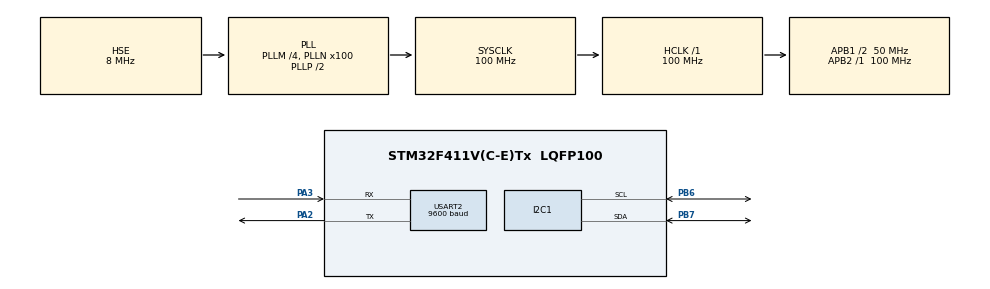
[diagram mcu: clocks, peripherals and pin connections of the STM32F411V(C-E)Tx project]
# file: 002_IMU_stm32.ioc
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Mcu.Family=STM32F4
Mcu.Name=STM32F411V(C-E)Tx
Mcu.Package=LQFP100
NVIC.PriorityGroup=NVIC_PRIORITYGROUP_4
PA2.Mode=Asynchronous
PA2.Signal=USART2_TX
PA3.Mode=Asynchronous
PA3.Signal=USART2_RX
PB6.Mode=I2C
PB6.Signal=I2C1_SCL
PB7.Mode=I2C
PB7.Signal=I2C1_SDA
PH0\ -\ OSC_IN.Mode=HSE-External-Oscillator
PH0\ -\ OSC_IN.Signal=RCC_OSC_IN
PH1\ -\ OSC_OUT.Mode=HSE-External-Oscillator
PH1\ -\ OSC_OUT.Signal=RCC_OSC_OUT
ProjectManager.HeapSize=0x200
ProjectManager.StackSize=0x400
ProjectManager.TargetToolchain=STM32CubeIDE
RCC.48MHZClocksFreq_Value=50000000
RCC.AHBFreq_Value=100000000
RCC.APB1CLKDivider=RCC_HCLK_DIV2
RCC.APB1Freq_Value=50000000
RCC.APB1TimFreq_Value=100000000
RCC.APB2Freq_Value=100000000
RCC.APB2TimFreq_Value=100000000
RCC.CortexFreq_Value=100000000
RCC.HCLKFreq_Value=100000000
RCC.HSE_VALUE=8000000
RCC.HSI_VALUE=16000000
RCC.LSE_VALUE=32768
RCC.PLLM=4
RCC.PLLN=100
RCC.PLLSourceVirtual=RCC_PLLSOURCE_HSE
RCC.SYSCLKFreq_VALUE=100000000
RCC.SYSCLKSource=RCC_SYSCLKSOURCE_PLLCLK
RCC.VCOOutputFreq_Value=200000000
USART2.BaudRate=9600
USART2.VirtualMode=VM_ASYNC
board=custom

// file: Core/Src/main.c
/* USER CODE BEGIN Header */
/**
 ******************************************************************************
 * @file           : main.c
 * @brief          : Main program body
 ******************************************************************************
 * @attention
 *
 * Copyright (c) 2023 STMicroelectronics.
 * All rights reserved.
 *
 * This software is licensed under terms that can be found in the LICENSE file
 * in the root directory of this software component.
 * If no LICENSE file comes with this software, it is provided AS-IS.
 *
 ******************************************************************************
 */
/* USER CODE END Header */
#include "main.h"

/* USER CODE BEGIN Includes */
#include <stdio.h>
#include "mpu6050.h"
/* USER CODE END Includes */

I2C_HandleTypeDef hi2c1;

UART_HandleTypeDef huart2;

void SystemClock_Config(void);
static void MX_GPIO_Init(void);
static void MX_I2C1_Init(void);
static void MX_USART2_UART_Init(void);
/* USER CODE BEGIN PFP */
void print_accel(MPU6050_t *MPU6050);
void print_gyro(MPU6050_t *MPU6050);

/* USER CODE END PFP */

int main(void) {

	/* MCU Configuration--------------------------------------------------------*/

	/* Reset of all peripherals, Initializes the Flash interface and the Systick. */
	HAL_Init();

	/* Configure the system clock */
	SystemClock_Config();

	/* Initialize all configured peripherals */
	MX_GPIO_Init();
	MX_I2C1_Init();
	MX_USART2_UART_Init();
	/* USER CODE BEGIN 2 */
	MPU6050_t MPU6050;
	while (MPU6050_Init(&hi2c1) == 1)
		;
	/* USER CODE END 2 */

	/* Infinite loop */
	while (1) {

		/* USER CODE BEGIN 3 */
		MPU6050_Read_All(&hi2c1, &MPU6050);
		HAL_Delay(500);
		print_accel(&MPU6050);
		print_gyro(&MPU6050);

	}
	/* USER CODE END 3 */
}

void SystemClock_Config(void) {
	RCC_OscInitTypeDef RCC_OscInitStruct = { 0 };
	RCC_ClkInitTypeDef RCC_ClkInitStruct = { 0 };

	/** Configure the main internal regulator output voltage
	 */
	__HAL_RCC_PWR_CLK_ENABLE();
	__HAL_PWR_VOLTAGESCALING_CONFIG(PWR_REGULATOR_VOLTAGE_SCALE1);

	/** Initializes the RCC Oscillators according to the specified parameters
	 * in the RCC_OscInitTypeDef structure.
	 */
	RCC_OscInitStruct.OscillatorType = RCC_OSCILLATORTYPE_HSE;
	RCC_OscInitStruct.HSEState = RCC_HSE_ON;
	RCC_OscInitStruct.PLL.PLLState = RCC_PLL_ON;
	RCC_OscInitStruct.PLL.PLLSource = RCC_PLLSOURCE_HSE;
	RCC_OscInitStruct.PLL.PLLM = 4;
	RCC_OscInitStruct.PLL.PLLN = 100;
	RCC_OscInitStruct.PLL.PLLP = RCC_PLLP_DIV2;
	RCC_OscInitStruct.PLL.PLLQ = 4;
	if (HAL_RCC_OscConfig(&RCC_OscInitStruct) != HAL_OK) {
		Error_Handler();
	}

	/** Initializes the CPU, AHB and APB buses clocks
	 */
	RCC_ClkInitStruct.ClockType = RCC_CLOCKTYPE_HCLK | RCC_CLOCKTYPE_SYSCLK
			| RCC_CLOCKTYPE_PCLK1 | RCC_CLOCKTYPE_PCLK2;
	RCC_ClkInitStruct.SYSCLKSource = RCC_SYSCLKSOURCE_PLLCLK;
	RCC_ClkInitStruct.AHBCLKDivider = RCC_SYSCLK_DIV1;
	RCC_ClkInitStruct.APB1CLKDivider = RCC_HCLK_DIV2;
	RCC_ClkInitStruct.APB2CLKDivider = RCC_HCLK_DIV1;

	if (HAL_RCC_ClockConfig(&RCC_ClkInitStruct, FLASH_LATENCY_3) != HAL_OK) {
		Error_Handler();
	}
}

static void MX_I2C1_Init(void) {

	hi2c1.Instance = I2C1;
	hi2c1.Init.ClockSpeed = 100000;
	hi2c1.Init.DutyCycle = I2C_DUTYCYCLE_2;
	hi2c1.Init.OwnAddress1 = 0;
	hi2c1.Init.AddressingMode = I2C_ADDRESSINGMODE_7BIT;
	hi2c1.Init.DualAddressMode = I2C_DUALADDRESS_DISABLE;
	hi2c1.Init.OwnAddress2 = 0;
	hi2c1.Init.GeneralCallMode = I2C_GENERALCALL_DISABLE;
	hi2c1.Init.NoStretchMode = I2C_NOSTRETCH_DISABLE;
	if (HAL_I2C_Init(&hi2c1) != HAL_OK) {
		Error_Handler();
	}

}

static void MX_USART2_UART_Init(void) {

	huart2.Instance = USART2;
	huart2.Init.BaudRate = 9600;
	huart2.Init.WordLength = UART_WORDLENGTH_8B;
	huart2.Init.StopBits = UART_STOPBITS_1;
	huart2.Init.Parity = UART_PARITY_NONE;
	huart2.Init.Mode = UART_MODE_TX_RX;
	huart2.Init.HwFlowCtl = UART_HWCONTROL_NONE;
	huart2.Init.OverSampling = UART_OVERSAMPLING_16;
	if (HAL_UART_Init(&huart2) != HAL_OK) {
		Error_Handler();
	}

}

static void MX_GPIO_Init(void) {

	/* GPIO Ports Clock Enable */
	__HAL_RCC_GPIOH_CLK_ENABLE();
	__HAL_RCC_GPIOA_CLK_ENABLE();
	__HAL_RCC_GPIOB_CLK_ENABLE();

}

/* USER CODE BEGIN 4 */
void print_accel(MPU6050_t * MPU6050) {
	char buffer[100];
	int32_t len;
	len = sprintf(buffer, "Acc: X:%f Y:%f Z:%f\n", MPU6050->Ax, MPU6050->Ay,
			MPU6050->Az);
	HAL_UART_Transmit(&huart2, (uint8_t*) buffer, len, HAL_MAX_DELAY);
}
void print_gyro(MPU6050_t * MPU6050) {
	char buffer[100];
		int32_t len;
		len = sprintf(buffer, "Gyro: X:%f Y:%f Z:%f\n", MPU6050->Gx, MPU6050->Gy,
				MPU6050->Gz);
		HAL_UART_Transmit(&huart2, (uint8_t*) buffer, len, HAL_MAX_DELAY);

}
/* USER CODE END 4 */

void Error_Handler(void) {
	__disable_irq();
	while (1) {
	}
}
